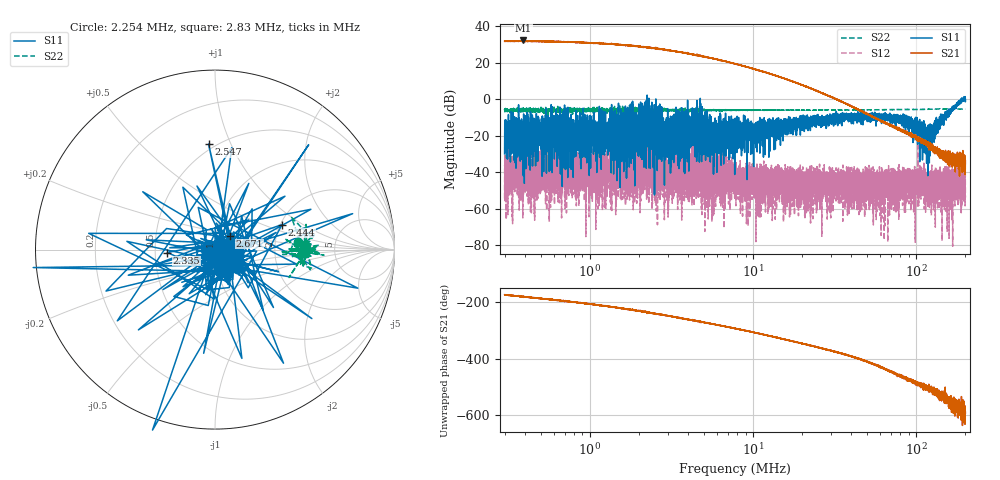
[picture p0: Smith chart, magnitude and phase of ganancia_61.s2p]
# Hz S DB R 50
! CMT, M5065, 19127446, 24.2.4/2
! Date: 11/1/2024 3:50:27 PM
! Data: Format (Calibration Info)
! Freq	S11:dB/Ang(F2)	S21:dB/Ang(F2)	S12:dB/Ang(F2)	S22:dB/Ang(F2)
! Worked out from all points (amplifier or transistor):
!   9000 points, 300 kHz to 200 MHz, reference 50 ohm
!   highest |S21| = 32.2 dB at 391.4 kHz (marker M1)
!   |S21| within 3 dB of that: start of sweep to 1.77 MHz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
!   unconditionally stable (mu >= 1): 6.385 MHz to 188.8 MHz; 191.3 MHz to 192.5 MHz; 194 MHz to 195 MHz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
!   at 886.8 kHz: K = 0.91, MSG = 32.6 dB, |S12| = -34.2 dB
!   at 7.749 MHz: K = 3.54, MAG = 20.6 dB, |S12| = -38.7 dB
!   at 200 MHz: K = 622.57, MAG = -20.9 dB, |S12| = -53.9 dB
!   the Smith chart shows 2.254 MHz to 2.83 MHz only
!   S11 on the Smith chart (normalised r, x): 2.254 MHz: 1.24, -0.27; 2.335 MHz: 0.58, -0.02; 2.444 MHz: 2.04, +0.68; 2.547 MHz: 0.46, +0.83; 2.671 MHz: 1.17, +0.19; 2.83 MHz: 1.29, -0.11
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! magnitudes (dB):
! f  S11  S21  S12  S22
! 300 kHz  -29.9  31.8  -54.4  -6.0
! 310.1 kHz  -19.8  31.8  -28.6  -4.5
! 391.4 kHz  -17.6  32.2  -39.1  -5.1
! 886.8 kHz  -15.7  31.0  -34.2  -5.4
! 2.254 MHz  -15.9  28.4  -28.1  -6.7
! 2.335 MHz  -11.5  28.4  -24.3  -7.7
! 2.444 MHz  -8.0  27.8  -40.9  -5.8
! 2.547 MHz  -4.6  27.7  -30.7  -6.8
! 2.621 MHz  -14.6  27.6  -41.5  -5.8
! 2.671 MHz  -18.8  27.5  -37.9  -5.9
! 2.83 MHz  -17.4  27.2  -40.7  -6.0
! 4.659 MHz  -19.1  23.8  -44.9  -6.1
! 5.144 MHz  -17.7  23.2  -39.2  -6.1
! 7.749 MHz  -24.2  19.4  -38.7  -6.1
! 9.95 MHz  -17.5  16.7  -44.5  -5.9
! 10.75 MHz  -18.0  15.8  -48.0  -6.0
! 22.91 MHz  -11.1  5.6  -50.8  -5.9
! 67.71 MHz  -9.5  -13.7  -36.5  -5.7
! 86.81 MHz  -12.2  -18.3  -56.9  -5.6
! 118.2 MHz  -16.1  -24.3  -43.9  -5.5
! 186.5 MHz  -1.5  -32.6  -41.5  -5.4
! 200 MHz  -0.3  -33.8  -53.9  -5.4
